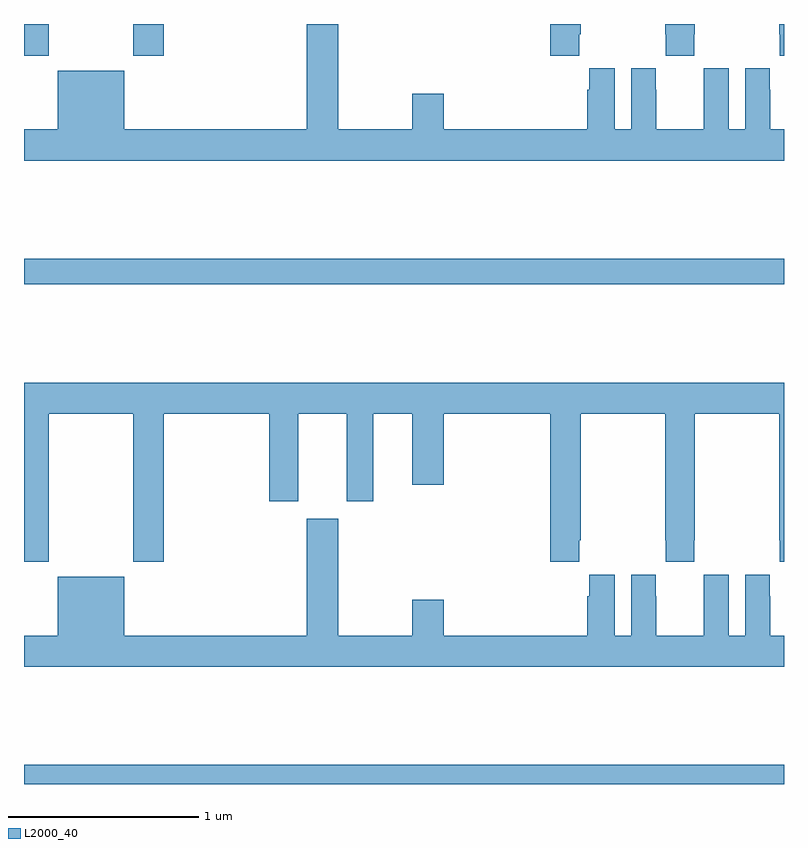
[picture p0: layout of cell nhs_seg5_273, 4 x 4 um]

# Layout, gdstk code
import gdstk
lib = gdstk.Library(unit=1e-6, precision=1e-09)
def R(c, l, rs):  # rectangles x0, y0, x1, y1
    for r in rs: c.add(gdstk.rectangle(r[:2], r[2:], *l))
def P(c, l, *ps):  # polygons
    for p in ps: c.add(gdstk.Polygon(p, *l))
L2000_40 = (2000, 40)

nhs_seg5_273 = lib.new_cell('nhs_seg5_273')
R(nhs_seg5_273, L2000_40, [(127,866.799,131,866.9), (127,869.428,131,869.564), (127,870.633,127.131,870.799), (127.576,870.633,127.736,870.799)])
P(nhs_seg5_273, L2000_40, [(129.923,870.745),(129.93,870.745),(129.93,870.799),(129.77,870.799),(129.77,870.633),(129.923,870.633)],
  [(130.527,870.745),(130.53,870.745),(130.53,870.799),(130.375,870.799),(130.375,870.745),(130.377,870.745),(130.377,870.633),(130.527,870.633)],
  [(131,870.799),(130.975,870.799),(130.975,870.745),(130.977,870.745),(130.977,870.633),(131,870.633)],
  [(131,870.244),(130.927,870.244),(130.927,870.452),(130.926,870.452),(130.926,870.565),(130.796,870.565),(130.796,870.244),(130.708,870.244),(130.708,870.565),(130.578,870.565),(130.578,870.452),(130.577,870.452),(130.577,870.244),(130.327,870.244),(130.327,870.452),(130.326,870.452),(130.326,870.565),(130.196,870.565),(130.196,870.244),(130.108,870.244),(130.108,870.565),(129.974,870.565),(129.974,870.452),(129.965,870.452),(129.965,870.244),(129.208,870.244),(129.208,870.433),(129.044,870.433),(129.044,870.244),(128.653,870.244),(128.653,870.799),(128.489,870.799),(128.489,870.244),(127.528,870.244),(127.528,870.553),(127.178,870.553),(127.178,870.244),(127,870.244),(127,870.08),(131,870.08)],
  [(127.131,868.748),(127.576,868.748),(127.576,867.969),(127.736,867.969),(127.736,868.748),(128.291,868.748),(128.291,868.287),(128.443,868.287),(128.443,868.748),(128.699,868.748),(128.699,868.287),(128.839,868.287),(128.839,868.748),(129.044,868.748),(129.044,868.374),(129.208,868.374),(129.208,868.748),(129.77,868.748),(129.77,867.969),(129.923,867.969),(129.923,868.081),(129.93,868.081),(129.93,868.748),(130.375,868.748),(130.375,868.081),(130.377,868.081),(130.377,867.969),(130.527,867.969),(130.527,868.081),(130.53,868.081),(130.53,868.748),(130.975,868.748),(130.975,868.081),(130.977,868.081),(130.977,867.969),(131,867.969),(131,868.912),(127,868.912),(127,867.969),(127.131,867.969)],
  [(131,867.58),(130.927,867.58),(130.927,867.788),(130.926,867.788),(130.926,867.901),(130.796,867.901),(130.796,867.58),(130.708,867.58),(130.708,867.901),(130.578,867.901),(130.578,867.788),(130.577,867.788),(130.577,867.58),(130.327,867.58),(130.327,867.788),(130.326,867.788),(130.326,867.901),(130.196,867.901),(130.196,867.58),(130.108,867.58),(130.108,867.901),(129.974,867.901),(129.974,867.788),(129.965,867.788),(129.965,867.58),(129.208,867.58),(129.208,867.769),(129.044,867.769),(129.044,867.58),(128.653,867.58),(128.653,868.195),(128.489,868.195),(128.489,867.58),(127.528,867.58),(127.528,867.889),(127.178,867.889),(127.178,867.58),(127,867.58),(127,867.416),(131,867.416)])

lib.write_gds('nhs_seg5_273.gds')
